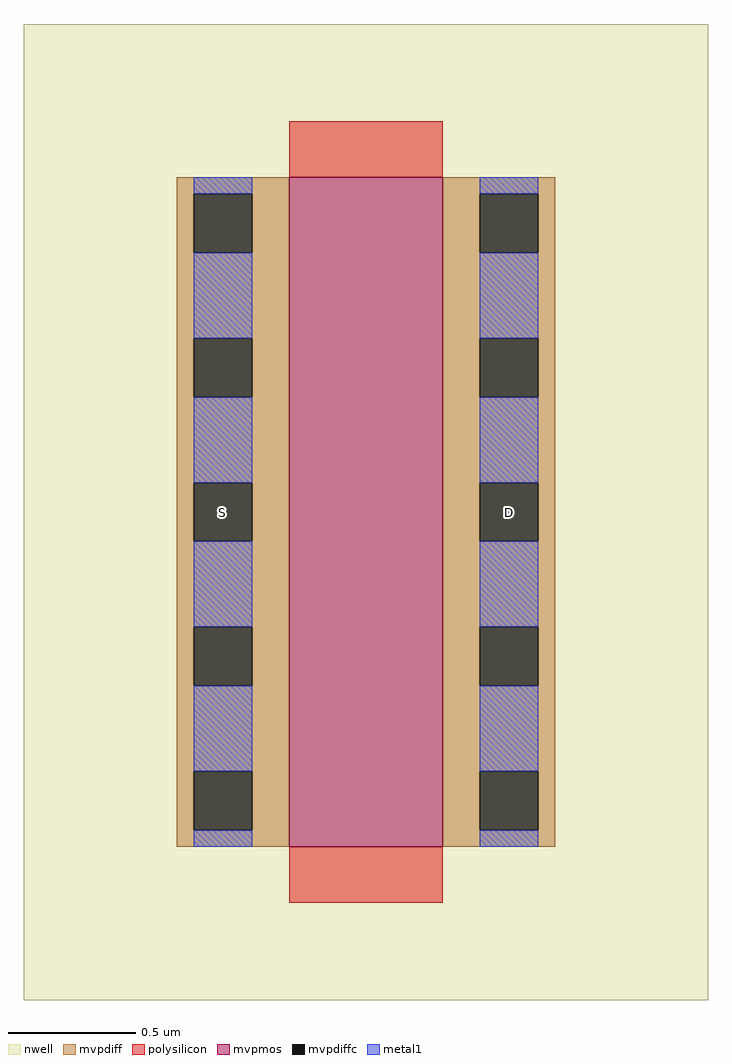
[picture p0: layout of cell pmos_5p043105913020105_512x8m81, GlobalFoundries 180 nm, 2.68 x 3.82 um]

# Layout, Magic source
magic
tech gf180mcuB
magscale 1 10
<< nwell >>
rect -208 -120 328 644
<< mvpmos >>
rect 0 0 120 524
<< mvpdiff >>
rect -88 511 0 524
rect -88 465 -75 511
rect -29 465 0 511
rect -88 398 0 465
rect -88 352 -75 398
rect -29 352 0 398
rect -88 285 0 352
rect -88 239 -75 285
rect -29 239 0 285
rect -88 172 0 239
rect -88 126 -75 172
rect -29 126 0 172
rect -88 59 0 126
rect -88 13 -75 59
rect -29 13 0 59
rect -88 0 0 13
rect 120 511 208 524
rect 120 465 149 511
rect 195 465 208 511
rect 120 398 208 465
rect 120 352 149 398
rect 195 352 208 398
rect 120 285 208 352
rect 120 239 149 285
rect 195 239 208 285
rect 120 172 208 239
rect 120 126 149 172
rect 195 126 208 172
rect 120 59 208 126
rect 120 13 149 59
rect 195 13 208 59
rect 120 0 208 13
<< mvpdiffc >>
rect -75 465 -29 511
rect -75 352 -29 398
rect -75 239 -29 285
rect -75 126 -29 172
rect -75 13 -29 59
rect 149 465 195 511
rect 149 352 195 398
rect 149 239 195 285
rect 149 126 195 172
rect 149 13 195 59
<< polysilicon >>
rect 0 524 120 568
rect 0 -44 120 0
<< metal1 >>
rect -75 511 -29 524
rect -75 398 -29 465
rect -75 285 -29 352
rect -75 172 -29 239
rect -75 59 -29 126
rect -75 0 -29 13
rect 149 511 195 524
rect 149 398 195 465
rect 149 285 195 352
rect 149 172 195 239
rect 149 59 195 126
rect 149 0 195 13
<< labels >>
flabel metal1 s -52 262 -52 262 0 FreeSans 400 0 0 0 S
flabel metal1 s 172 262 172 262 0 FreeSans 400 0 0 0 D
<< properties >>
string GDS_END 250298
string GDS_FILE $PDKPATH/libs.ref/gf180mcu_fd_ip_sram/gds/gf180mcu_fd_ip_sram__sram512x8m8wm1.gds
string GDS_START 248698
<< end >>
